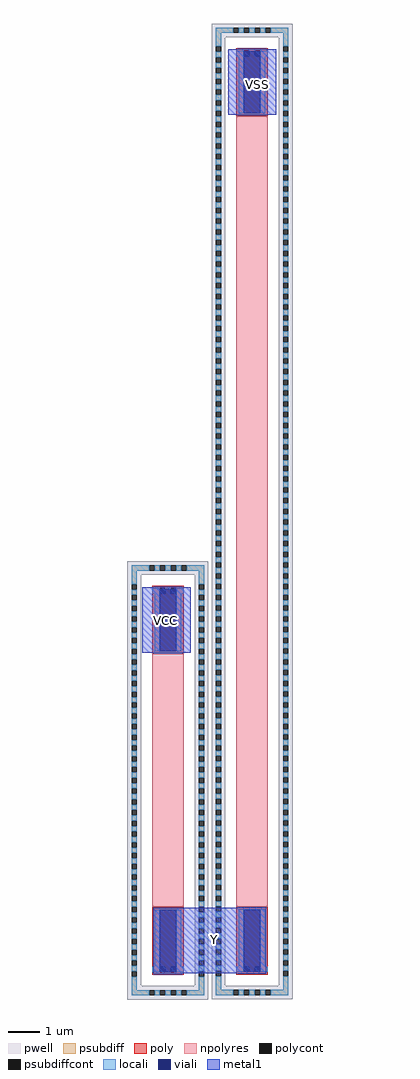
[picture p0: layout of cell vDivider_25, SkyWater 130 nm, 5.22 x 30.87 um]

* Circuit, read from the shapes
.subckt vDivider_25 VCC Y VSS
R1 VCC Y sky130_fd_pr__res_generic_po w=1 l=8
R2 VSS Y sky130_fd_pr__res_generic_po w=1 l=25
.ends

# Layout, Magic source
magic
tech sky130B
<< metal1 >>
rect 270 3050 423 3257
rect -1 1348 152 1555
rect 34 334 391 541
use sky130_fd_pr__res_generic_po_NSB5VY  R1
transform 1 0 346 0 1 1795
box -128 -1543 128 1543
use sky130_fd_pr__res_generic_po_FHUZEF  R3
transform 1 0 80 0 1 944
box -128 -693 128 693
<< labels >>
flabel metal1 s 21 1399 121 1499 0 FreeSans 160 0 0 0 VCC
port 1 nsew
flabel metal1 s 178 392 278 492 0 FreeSans 160 0 0 0 Y
port 2 nsew
flabel metal1 s 313 3094 413 3194 0 FreeSans 160 0 0 0 VSS
port 3 nsew
<< end >>

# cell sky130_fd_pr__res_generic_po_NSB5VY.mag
magic
tech sky130B
magscale 1 2
<< pwell >>
rect -256 3000 256 3086
rect -256 -3000 -170 3000
rect 170 -3000 256 3000
rect -256 -3086 256 -3000
<< psubdiff >>
rect -230 3026 -119 3060
rect -85 3026 -51 3060
rect -17 3026 17 3060
rect 51 3026 85 3060
rect 119 3026 230 3060
rect -230 2941 -196 3026
rect 196 2941 230 3026
rect -230 2873 -196 2907
rect -230 2805 -196 2839
rect -230 2737 -196 2771
rect -230 2669 -196 2703
rect -230 2601 -196 2635
rect -230 2533 -196 2567
rect -230 2465 -196 2499
rect -230 2397 -196 2431
rect -230 2329 -196 2363
rect -230 2261 -196 2295
rect -230 2193 -196 2227
rect -230 2125 -196 2159
rect -230 2057 -196 2091
rect -230 1989 -196 2023
rect -230 1921 -196 1955
rect -230 1853 -196 1887
rect -230 1785 -196 1819
rect -230 1717 -196 1751
rect -230 1649 -196 1683
rect -230 1581 -196 1615
rect -230 1513 -196 1547
rect -230 1445 -196 1479
rect -230 1377 -196 1411
rect -230 1309 -196 1343
rect -230 1241 -196 1275
rect -230 1173 -196 1207
rect -230 1105 -196 1139
rect -230 1037 -196 1071
rect -230 969 -196 1003
rect -230 901 -196 935
rect -230 833 -196 867
rect -230 765 -196 799
rect -230 697 -196 731
rect -230 629 -196 663
rect -230 561 -196 595
rect -230 493 -196 527
rect -230 425 -196 459
rect -230 357 -196 391
rect -230 289 -196 323
rect -230 221 -196 255
rect -230 153 -196 187
rect -230 85 -196 119
rect -230 17 -196 51
rect -230 -51 -196 -17
rect -230 -119 -196 -85
rect -230 -187 -196 -153
rect -230 -255 -196 -221
rect -230 -323 -196 -289
rect -230 -391 -196 -357
rect -230 -459 -196 -425
rect -230 -527 -196 -493
rect -230 -595 -196 -561
rect -230 -663 -196 -629
rect -230 -731 -196 -697
rect -230 -799 -196 -765
rect -230 -867 -196 -833
rect -230 -935 -196 -901
rect -230 -1003 -196 -969
rect -230 -1071 -196 -1037
rect -230 -1139 -196 -1105
rect -230 -1207 -196 -1173
rect -230 -1275 -196 -1241
rect -230 -1343 -196 -1309
rect -230 -1411 -196 -1377
rect -230 -1479 -196 -1445
rect -230 -1547 -196 -1513
rect -230 -1615 -196 -1581
rect -230 -1683 -196 -1649
rect -230 -1751 -196 -1717
rect -230 -1819 -196 -1785
rect -230 -1887 -196 -1853
rect -230 -1955 -196 -1921
rect -230 -2023 -196 -1989
rect -230 -2091 -196 -2057
rect -230 -2159 -196 -2125
rect -230 -2227 -196 -2193
rect -230 -2295 -196 -2261
rect -230 -2363 -196 -2329
rect -230 -2431 -196 -2397
rect -230 -2499 -196 -2465
rect -230 -2567 -196 -2533
rect -230 -2635 -196 -2601
rect -230 -2703 -196 -2669
rect -230 -2771 -196 -2737
rect -230 -2839 -196 -2805
rect -230 -2907 -196 -2873
rect 196 2873 230 2907
rect 196 2805 230 2839
rect 196 2737 230 2771
rect 196 2669 230 2703
rect 196 2601 230 2635
rect 196 2533 230 2567
rect 196 2465 230 2499
rect 196 2397 230 2431
rect 196 2329 230 2363
rect 196 2261 230 2295
rect 196 2193 230 2227
rect 196 2125 230 2159
rect 196 2057 230 2091
rect 196 1989 230 2023
rect 196 1921 230 1955
rect 196 1853 230 1887
rect 196 1785 230 1819
rect 196 1717 230 1751
rect 196 1649 230 1683
rect 196 1581 230 1615
rect 196 1513 230 1547
rect 196 1445 230 1479
rect 196 1377 230 1411
rect 196 1309 230 1343
rect 196 1241 230 1275
rect 196 1173 230 1207
rect 196 1105 230 1139
rect 196 1037 230 1071
rect 196 969 230 1003
rect 196 901 230 935
rect 196 833 230 867
rect 196 765 230 799
rect 196 697 230 731
rect 196 629 230 663
rect 196 561 230 595
rect 196 493 230 527
rect 196 425 230 459
rect 196 357 230 391
rect 196 289 230 323
rect 196 221 230 255
rect 196 153 230 187
rect 196 85 230 119
rect 196 17 230 51
rect 196 -51 230 -17
rect 196 -119 230 -85
rect 196 -187 230 -153
rect 196 -255 230 -221
rect 196 -323 230 -289
rect 196 -391 230 -357
rect 196 -459 230 -425
rect 196 -527 230 -493
rect 196 -595 230 -561
rect 196 -663 230 -629
rect 196 -731 230 -697
rect 196 -799 230 -765
rect 196 -867 230 -833
rect 196 -935 230 -901
rect 196 -1003 230 -969
rect 196 -1071 230 -1037
rect 196 -1139 230 -1105
rect 196 -1207 230 -1173
rect 196 -1275 230 -1241
rect 196 -1343 230 -1309
rect 196 -1411 230 -1377
rect 196 -1479 230 -1445
rect 196 -1547 230 -1513
rect 196 -1615 230 -1581
rect 196 -1683 230 -1649
rect 196 -1751 230 -1717
rect 196 -1819 230 -1785
rect 196 -1887 230 -1853
rect 196 -1955 230 -1921
rect 196 -2023 230 -1989
rect 196 -2091 230 -2057
rect 196 -2159 230 -2125
rect 196 -2227 230 -2193
rect 196 -2295 230 -2261
rect 196 -2363 230 -2329
rect 196 -2431 230 -2397
rect 196 -2499 230 -2465
rect 196 -2567 230 -2533
rect 196 -2635 230 -2601
rect 196 -2703 230 -2669
rect 196 -2771 230 -2737
rect 196 -2839 230 -2805
rect 196 -2907 230 -2873
rect -230 -3026 -196 -2941
rect 196 -3026 230 -2941
rect -230 -3060 -119 -3026
rect -85 -3060 -51 -3026
rect -17 -3060 17 -3026
rect 51 -3060 85 -3026
rect 119 -3060 230 -3026
<< psubdiffcont >>
rect -119 3026 -85 3060
rect -51 3026 -17 3060
rect 17 3026 51 3060
rect 85 3026 119 3060
rect -230 2907 -196 2941
rect -230 2839 -196 2873
rect -230 2771 -196 2805
rect -230 2703 -196 2737
rect -230 2635 -196 2669
rect -230 2567 -196 2601
rect -230 2499 -196 2533
rect -230 2431 -196 2465
rect -230 2363 -196 2397
rect -230 2295 -196 2329
rect -230 2227 -196 2261
rect -230 2159 -196 2193
rect -230 2091 -196 2125
rect -230 2023 -196 2057
rect -230 1955 -196 1989
rect -230 1887 -196 1921
rect -230 1819 -196 1853
rect -230 1751 -196 1785
rect -230 1683 -196 1717
rect -230 1615 -196 1649
rect -230 1547 -196 1581
rect -230 1479 -196 1513
rect -230 1411 -196 1445
rect -230 1343 -196 1377
rect -230 1275 -196 1309
rect -230 1207 -196 1241
rect -230 1139 -196 1173
rect -230 1071 -196 1105
rect -230 1003 -196 1037
rect -230 935 -196 969
rect -230 867 -196 901
rect -230 799 -196 833
rect -230 731 -196 765
rect -230 663 -196 697
rect -230 595 -196 629
rect -230 527 -196 561
rect -230 459 -196 493
rect -230 391 -196 425
rect -230 323 -196 357
rect -230 255 -196 289
rect -230 187 -196 221
rect -230 119 -196 153
rect -230 51 -196 85
rect -230 -17 -196 17
rect -230 -85 -196 -51
rect -230 -153 -196 -119
rect -230 -221 -196 -187
rect -230 -289 -196 -255
rect -230 -357 -196 -323
rect -230 -425 -196 -391
rect -230 -493 -196 -459
rect -230 -561 -196 -527
rect -230 -629 -196 -595
rect -230 -697 -196 -663
rect -230 -765 -196 -731
rect -230 -833 -196 -799
rect -230 -901 -196 -867
rect -230 -969 -196 -935
rect -230 -1037 -196 -1003
rect -230 -1105 -196 -1071
rect -230 -1173 -196 -1139
rect -230 -1241 -196 -1207
rect -230 -1309 -196 -1275
rect -230 -1377 -196 -1343
rect -230 -1445 -196 -1411
rect -230 -1513 -196 -1479
rect -230 -1581 -196 -1547
rect -230 -1649 -196 -1615
rect -230 -1717 -196 -1683
rect -230 -1785 -196 -1751
rect -230 -1853 -196 -1819
rect -230 -1921 -196 -1887
rect -230 -1989 -196 -1955
rect -230 -2057 -196 -2023
rect -230 -2125 -196 -2091
rect -230 -2193 -196 -2159
rect -230 -2261 -196 -2227
rect -230 -2329 -196 -2295
rect -230 -2397 -196 -2363
rect -230 -2465 -196 -2431
rect -230 -2533 -196 -2499
rect -230 -2601 -196 -2567
rect -230 -2669 -196 -2635
rect -230 -2737 -196 -2703
rect -230 -2805 -196 -2771
rect -230 -2873 -196 -2839
rect -230 -2941 -196 -2907
rect 196 2907 230 2941
rect 196 2839 230 2873
rect 196 2771 230 2805
rect 196 2703 230 2737
rect 196 2635 230 2669
rect 196 2567 230 2601
rect 196 2499 230 2533
rect 196 2431 230 2465
rect 196 2363 230 2397
rect 196 2295 230 2329
rect 196 2227 230 2261
rect 196 2159 230 2193
rect 196 2091 230 2125
rect 196 2023 230 2057
rect 196 1955 230 1989
rect 196 1887 230 1921
rect 196 1819 230 1853
rect 196 1751 230 1785
rect 196 1683 230 1717
rect 196 1615 230 1649
rect 196 1547 230 1581
rect 196 1479 230 1513
rect 196 1411 230 1445
rect 196 1343 230 1377
rect 196 1275 230 1309
rect 196 1207 230 1241
rect 196 1139 230 1173
rect 196 1071 230 1105
rect 196 1003 230 1037
rect 196 935 230 969
rect 196 867 230 901
rect 196 799 230 833
rect 196 731 230 765
rect 196 663 230 697
rect 196 595 230 629
rect 196 527 230 561
rect 196 459 230 493
rect 196 391 230 425
rect 196 323 230 357
rect 196 255 230 289
rect 196 187 230 221
rect 196 119 230 153
rect 196 51 230 85
rect 196 -17 230 17
rect 196 -85 230 -51
rect 196 -153 230 -119
rect 196 -221 230 -187
rect 196 -289 230 -255
rect 196 -357 230 -323
rect 196 -425 230 -391
rect 196 -493 230 -459
rect 196 -561 230 -527
rect 196 -629 230 -595
rect 196 -697 230 -663
rect 196 -765 230 -731
rect 196 -833 230 -799
rect 196 -901 230 -867
rect 196 -969 230 -935
rect 196 -1037 230 -1003
rect 196 -1105 230 -1071
rect 196 -1173 230 -1139
rect 196 -1241 230 -1207
rect 196 -1309 230 -1275
rect 196 -1377 230 -1343
rect 196 -1445 230 -1411
rect 196 -1513 230 -1479
rect 196 -1581 230 -1547
rect 196 -1649 230 -1615
rect 196 -1717 230 -1683
rect 196 -1785 230 -1751
rect 196 -1853 230 -1819
rect 196 -1921 230 -1887
rect 196 -1989 230 -1955
rect 196 -2057 230 -2023
rect 196 -2125 230 -2091
rect 196 -2193 230 -2159
rect 196 -2261 230 -2227
rect 196 -2329 230 -2295
rect 196 -2397 230 -2363
rect 196 -2465 230 -2431
rect 196 -2533 230 -2499
rect 196 -2601 230 -2567
rect 196 -2669 230 -2635
rect 196 -2737 230 -2703
rect 196 -2805 230 -2771
rect 196 -2873 230 -2839
rect 196 -2941 230 -2907
rect -119 -3060 -85 -3026
rect -51 -3060 -17 -3026
rect 17 -3060 51 -3026
rect 85 -3060 119 -3026
<< poly >>
rect -100 2914 100 2930
rect -100 2880 -51 2914
rect -17 2880 17 2914
rect 51 2880 100 2914
rect -100 2500 100 2880
rect -100 -2880 100 -2500
rect -100 -2914 -51 -2880
rect -17 -2914 17 -2880
rect 51 -2914 100 -2880
rect -100 -2930 100 -2914
<< polycont >>
rect -51 2880 -17 2914
rect 17 2880 51 2914
rect -51 -2914 -17 -2880
rect 17 -2914 51 -2880
<< npolyres >>
rect -100 -2500 100 2500
<< locali >>
rect -230 3026 -119 3060
rect -85 3026 -51 3060
rect -17 3026 17 3060
rect 51 3026 85 3060
rect 119 3026 230 3060
rect -230 2941 -196 3026
rect 196 2941 230 3026
rect -230 2873 -196 2907
rect -100 2912 -51 2914
rect -17 2912 17 2914
rect 51 2912 100 2914
rect -100 2880 -53 2912
rect 53 2880 100 2912
rect -230 2805 -196 2839
rect -230 2737 -196 2771
rect -230 2669 -196 2703
rect -230 2601 -196 2635
rect -230 2533 -196 2567
rect -84 2518 -53 2880
rect 53 2518 84 2880
rect -84 2517 84 2518
rect 196 2873 230 2907
rect 196 2805 230 2839
rect 196 2737 230 2771
rect 196 2669 230 2703
rect 196 2601 230 2635
rect 196 2533 230 2567
rect -230 2465 -196 2499
rect -230 2397 -196 2431
rect -230 2329 -196 2363
rect -230 2261 -196 2295
rect -230 2193 -196 2227
rect -230 2125 -196 2159
rect -230 2057 -196 2091
rect -230 1989 -196 2023
rect -230 1921 -196 1955
rect -230 1853 -196 1887
rect -230 1785 -196 1819
rect -230 1717 -196 1751
rect -230 1649 -196 1683
rect -230 1581 -196 1615
rect -230 1513 -196 1547
rect -230 1445 -196 1479
rect -230 1377 -196 1411
rect -230 1309 -196 1343
rect -230 1241 -196 1275
rect -230 1173 -196 1207
rect -230 1105 -196 1139
rect -230 1037 -196 1071
rect -230 969 -196 1003
rect -230 901 -196 935
rect -230 833 -196 867
rect -230 765 -196 799
rect -230 697 -196 731
rect -230 629 -196 663
rect -230 561 -196 595
rect -230 493 -196 527
rect -230 425 -196 459
rect -230 357 -196 391
rect -230 289 -196 323
rect -230 221 -196 255
rect -230 153 -196 187
rect -230 85 -196 119
rect -230 17 -196 51
rect -230 -51 -196 -17
rect -230 -119 -196 -85
rect -230 -187 -196 -153
rect -230 -255 -196 -221
rect -230 -323 -196 -289
rect -230 -391 -196 -357
rect -230 -459 -196 -425
rect -230 -527 -196 -493
rect -230 -595 -196 -561
rect -230 -663 -196 -629
rect -230 -731 -196 -697
rect -230 -799 -196 -765
rect -230 -867 -196 -833
rect -230 -935 -196 -901
rect -230 -1003 -196 -969
rect -230 -1071 -196 -1037
rect -230 -1139 -196 -1105
rect -230 -1207 -196 -1173
rect -230 -1275 -196 -1241
rect -230 -1343 -196 -1309
rect -230 -1411 -196 -1377
rect -230 -1479 -196 -1445
rect -230 -1547 -196 -1513
rect -230 -1615 -196 -1581
rect -230 -1683 -196 -1649
rect -230 -1751 -196 -1717
rect -230 -1819 -196 -1785
rect -230 -1887 -196 -1853
rect -230 -1955 -196 -1921
rect -230 -2023 -196 -1989
rect -230 -2091 -196 -2057
rect -230 -2159 -196 -2125
rect -230 -2227 -196 -2193
rect -230 -2295 -196 -2261
rect -230 -2363 -196 -2329
rect -230 -2431 -196 -2397
rect -230 -2499 -196 -2465
rect 196 2465 230 2499
rect 196 2397 230 2431
rect 196 2329 230 2363
rect 196 2261 230 2295
rect 196 2193 230 2227
rect 196 2125 230 2159
rect 196 2057 230 2091
rect 196 1989 230 2023
rect 196 1921 230 1955
rect 196 1853 230 1887
rect 196 1785 230 1819
rect 196 1717 230 1751
rect 196 1649 230 1683
rect 196 1581 230 1615
rect 196 1513 230 1547
rect 196 1445 230 1479
rect 196 1377 230 1411
rect 196 1309 230 1343
rect 196 1241 230 1275
rect 196 1173 230 1207
rect 196 1105 230 1139
rect 196 1037 230 1071
rect 196 969 230 1003
rect 196 901 230 935
rect 196 833 230 867
rect 196 765 230 799
rect 196 697 230 731
rect 196 629 230 663
rect 196 561 230 595
rect 196 493 230 527
rect 196 425 230 459
rect 196 357 230 391
rect 196 289 230 323
rect 196 221 230 255
rect 196 153 230 187
rect 196 85 230 119
rect 196 17 230 51
rect 196 -51 230 -17
rect 196 -119 230 -85
rect 196 -187 230 -153
rect 196 -255 230 -221
rect 196 -323 230 -289
rect 196 -391 230 -357
rect 196 -459 230 -425
rect 196 -527 230 -493
rect 196 -595 230 -561
rect 196 -663 230 -629
rect 196 -731 230 -697
rect 196 -799 230 -765
rect 196 -867 230 -833
rect 196 -935 230 -901
rect 196 -1003 230 -969
rect 196 -1071 230 -1037
rect 196 -1139 230 -1105
rect 196 -1207 230 -1173
rect 196 -1275 230 -1241
rect 196 -1343 230 -1309
rect 196 -1411 230 -1377
rect 196 -1479 230 -1445
rect 196 -1547 230 -1513
rect 196 -1615 230 -1581
rect 196 -1683 230 -1649
rect 196 -1751 230 -1717
rect 196 -1819 230 -1785
rect 196 -1887 230 -1853
rect 196 -1955 230 -1921
rect 196 -2023 230 -1989
rect 196 -2091 230 -2057
rect 196 -2159 230 -2125
rect 196 -2227 230 -2193
rect 196 -2295 230 -2261
rect 196 -2363 230 -2329
rect 196 -2431 230 -2397
rect 196 -2499 230 -2465
rect -230 -2567 -196 -2533
rect -230 -2635 -196 -2601
rect -230 -2703 -196 -2669
rect -230 -2771 -196 -2737
rect -230 -2839 -196 -2805
rect -230 -2907 -196 -2873
rect -84 -2519 84 -2517
rect -84 -2880 -53 -2519
rect 53 -2880 84 -2519
rect 196 -2567 230 -2533
rect 196 -2635 230 -2601
rect 196 -2703 230 -2669
rect 196 -2771 230 -2737
rect 196 -2839 230 -2805
rect -100 -2913 -53 -2880
rect 53 -2913 100 -2880
rect -100 -2914 -51 -2913
rect -17 -2914 17 -2913
rect 51 -2914 100 -2913
rect 196 -2907 230 -2873
rect -230 -3026 -196 -2941
rect 196 -3026 230 -2941
rect -230 -3060 -119 -3026
rect -85 -3060 -51 -3026
rect -17 -3060 17 -3026
rect 51 -3060 85 -3026
rect 119 -3060 230 -3026
<< viali >>
rect -53 2880 -51 2912
rect -51 2880 -17 2912
rect -17 2880 17 2912
rect 17 2880 51 2912
rect 51 2880 53 2912
rect -53 2518 53 2880
rect -53 -2880 53 -2519
rect -53 -2913 -51 -2880
rect -51 -2913 -17 -2880
rect -17 -2913 17 -2880
rect 17 -2913 51 -2880
rect 51 -2913 53 -2880
<< metal1 >>
rect -90 2912 90 2926
rect -90 2518 -53 2912
rect 53 2518 90 2912
rect -90 2505 90 2518
rect -90 -2519 90 -2505
rect -90 -2913 -53 -2519
rect 53 -2913 90 -2519
rect -90 -2926 90 -2913
<< properties >>
string FIXED_BBOX -213 -3043 213 3043
<< end >>

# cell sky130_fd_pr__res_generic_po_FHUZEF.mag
magic
tech sky130B
magscale 1 2
<< pwell >>
rect -256 1300 256 1386
rect -256 -1300 -170 1300
rect 170 -1300 256 1300
rect -256 -1386 256 -1300
<< psubdiff >>
rect -230 1326 -119 1360
rect -85 1326 -51 1360
rect -17 1326 17 1360
rect 51 1326 85 1360
rect 119 1326 230 1360
rect -230 1241 -196 1326
rect 196 1241 230 1326
rect -230 1173 -196 1207
rect -230 1105 -196 1139
rect -230 1037 -196 1071
rect -230 969 -196 1003
rect -230 901 -196 935
rect -230 833 -196 867
rect -230 765 -196 799
rect -230 697 -196 731
rect -230 629 -196 663
rect -230 561 -196 595
rect -230 493 -196 527
rect -230 425 -196 459
rect -230 357 -196 391
rect -230 289 -196 323
rect -230 221 -196 255
rect -230 153 -196 187
rect -230 85 -196 119
rect -230 17 -196 51
rect -230 -51 -196 -17
rect -230 -119 -196 -85
rect -230 -187 -196 -153
rect -230 -255 -196 -221
rect -230 -323 -196 -289
rect -230 -391 -196 -357
rect -230 -459 -196 -425
rect -230 -527 -196 -493
rect -230 -595 -196 -561
rect -230 -663 -196 -629
rect -230 -731 -196 -697
rect -230 -799 -196 -765
rect -230 -867 -196 -833
rect -230 -935 -196 -901
rect -230 -1003 -196 -969
rect -230 -1071 -196 -1037
rect -230 -1139 -196 -1105
rect -230 -1207 -196 -1173
rect 196 1173 230 1207
rect 196 1105 230 1139
rect 196 1037 230 1071
rect 196 969 230 1003
rect 196 901 230 935
rect 196 833 230 867
rect 196 765 230 799
rect 196 697 230 731
rect 196 629 230 663
rect 196 561 230 595
rect 196 493 230 527
rect 196 425 230 459
rect 196 357 230 391
rect 196 289 230 323
rect 196 221 230 255
rect 196 153 230 187
rect 196 85 230 119
rect 196 17 230 51
rect 196 -51 230 -17
rect 196 -119 230 -85
rect 196 -187 230 -153
rect 196 -255 230 -221
rect 196 -323 230 -289
rect 196 -391 230 -357
rect 196 -459 230 -425
rect 196 -527 230 -493
rect 196 -595 230 -561
rect 196 -663 230 -629
rect 196 -731 230 -697
rect 196 -799 230 -765
rect 196 -867 230 -833
rect 196 -935 230 -901
rect 196 -1003 230 -969
rect 196 -1071 230 -1037
rect 196 -1139 230 -1105
rect 196 -1207 230 -1173
rect -230 -1326 -196 -1241
rect 196 -1326 230 -1241
rect -230 -1360 -119 -1326
rect -85 -1360 -51 -1326
rect -17 -1360 17 -1326
rect 51 -1360 85 -1326
rect 119 -1360 230 -1326
<< psubdiffcont >>
rect -119 1326 -85 1360
rect -51 1326 -17 1360
rect 17 1326 51 1360
rect 85 1326 119 1360
rect -230 1207 -196 1241
rect -230 1139 -196 1173
rect -230 1071 -196 1105
rect -230 1003 -196 1037
rect -230 935 -196 969
rect -230 867 -196 901
rect -230 799 -196 833
rect -230 731 -196 765
rect -230 663 -196 697
rect -230 595 -196 629
rect -230 527 -196 561
rect -230 459 -196 493
rect -230 391 -196 425
rect -230 323 -196 357
rect -230 255 -196 289
rect -230 187 -196 221
rect -230 119 -196 153
rect -230 51 -196 85
rect -230 -17 -196 17
rect -230 -85 -196 -51
rect -230 -153 -196 -119
rect -230 -221 -196 -187
rect -230 -289 -196 -255
rect -230 -357 -196 -323
rect -230 -425 -196 -391
rect -230 -493 -196 -459
rect -230 -561 -196 -527
rect -230 -629 -196 -595
rect -230 -697 -196 -663
rect -230 -765 -196 -731
rect -230 -833 -196 -799
rect -230 -901 -196 -867
rect -230 -969 -196 -935
rect -230 -1037 -196 -1003
rect -230 -1105 -196 -1071
rect -230 -1173 -196 -1139
rect -230 -1241 -196 -1207
rect 196 1207 230 1241
rect 196 1139 230 1173
rect 196 1071 230 1105
rect 196 1003 230 1037
rect 196 935 230 969
rect 196 867 230 901
rect 196 799 230 833
rect 196 731 230 765
rect 196 663 230 697
rect 196 595 230 629
rect 196 527 230 561
rect 196 459 230 493
rect 196 391 230 425
rect 196 323 230 357
rect 196 255 230 289
rect 196 187 230 221
rect 196 119 230 153
rect 196 51 230 85
rect 196 -17 230 17
rect 196 -85 230 -51
rect 196 -153 230 -119
rect 196 -221 230 -187
rect 196 -289 230 -255
rect 196 -357 230 -323
rect 196 -425 230 -391
rect 196 -493 230 -459
rect 196 -561 230 -527
rect 196 -629 230 -595
rect 196 -697 230 -663
rect 196 -765 230 -731
rect 196 -833 230 -799
rect 196 -901 230 -867
rect 196 -969 230 -935
rect 196 -1037 230 -1003
rect 196 -1105 230 -1071
rect 196 -1173 230 -1139
rect 196 -1241 230 -1207
rect -119 -1360 -85 -1326
rect -51 -1360 -17 -1326
rect 17 -1360 51 -1326
rect 85 -1360 119 -1326
<< poly >>
rect -100 1214 100 1230
rect -100 1180 -51 1214
rect -17 1180 17 1214
rect 51 1180 100 1214
rect -100 800 100 1180
rect -100 -1180 100 -800
rect -100 -1214 -51 -1180
rect -17 -1214 17 -1180
rect 51 -1214 100 -1180
rect -100 -1230 100 -1214
<< polycont >>
rect -51 1180 -17 1214
rect 17 1180 51 1214
rect -51 -1214 -17 -1180
rect 17 -1214 51 -1180
<< npolyres >>
rect -100 -800 100 800
<< locali >>
rect -230 1326 -119 1360
rect -85 1326 -51 1360
rect -17 1326 17 1360
rect 51 1326 85 1360
rect 119 1326 230 1360
rect -230 1241 -196 1326
rect 196 1241 230 1326
rect -230 1173 -196 1207
rect -100 1212 -51 1214
rect -17 1212 17 1214
rect 51 1212 100 1214
rect -100 1180 -53 1212
rect 53 1180 100 1212
rect -230 1105 -196 1139
rect -230 1037 -196 1071
rect -230 969 -196 1003
rect -230 901 -196 935
rect -230 833 -196 867
rect -84 818 -53 1180
rect 53 818 84 1180
rect -84 817 84 818
rect 196 1173 230 1207
rect 196 1105 230 1139
rect 196 1037 230 1071
rect 196 969 230 1003
rect 196 901 230 935
rect 196 833 230 867
rect -230 765 -196 799
rect -230 697 -196 731
rect -230 629 -196 663
rect -230 561 -196 595
rect -230 493 -196 527
rect -230 425 -196 459
rect -230 357 -196 391
rect -230 289 -196 323
rect -230 221 -196 255
rect -230 153 -196 187
rect -230 85 -196 119
rect -230 17 -196 51
rect -230 -51 -196 -17
rect -230 -119 -196 -85
rect -230 -187 -196 -153
rect -230 -255 -196 -221
rect -230 -323 -196 -289
rect -230 -391 -196 -357
rect -230 -459 -196 -425
rect -230 -527 -196 -493
rect -230 -595 -196 -561
rect -230 -663 -196 -629
rect -230 -731 -196 -697
rect -230 -799 -196 -765
rect 196 765 230 799
rect 196 697 230 731
rect 196 629 230 663
rect 196 561 230 595
rect 196 493 230 527
rect 196 425 230 459
rect 196 357 230 391
rect 196 289 230 323
rect 196 221 230 255
rect 196 153 230 187
rect 196 85 230 119
rect 196 17 230 51
rect 196 -51 230 -17
rect 196 -119 230 -85
rect 196 -187 230 -153
rect 196 -255 230 -221
rect 196 -323 230 -289
rect 196 -391 230 -357
rect 196 -459 230 -425
rect 196 -527 230 -493
rect 196 -595 230 -561
rect 196 -663 230 -629
rect 196 -731 230 -697
rect 196 -799 230 -765
rect -230 -867 -196 -833
rect -230 -935 -196 -901
rect -230 -1003 -196 -969
rect -230 -1071 -196 -1037
rect -230 -1139 -196 -1105
rect -230 -1207 -196 -1173
rect -84 -819 84 -817
rect -84 -1180 -53 -819
rect 53 -1180 84 -819
rect 196 -867 230 -833
rect 196 -935 230 -901
rect 196 -1003 230 -969
rect 196 -1071 230 -1037
rect 196 -1139 230 -1105
rect -100 -1213 -53 -1180
rect 53 -1213 100 -1180
rect -100 -1214 -51 -1213
rect -17 -1214 17 -1213
rect 51 -1214 100 -1213
rect 196 -1207 230 -1173
rect -230 -1326 -196 -1241
rect 196 -1326 230 -1241
rect -230 -1360 -119 -1326
rect -85 -1360 -51 -1326
rect -17 -1360 17 -1326
rect 51 -1360 85 -1326
rect 119 -1360 230 -1326
<< viali >>
rect -53 1180 -51 1212
rect -51 1180 -17 1212
rect -17 1180 17 1212
rect 17 1180 51 1212
rect 51 1180 53 1212
rect -53 818 53 1180
rect -53 -1180 53 -819
rect -53 -1213 -51 -1180
rect -51 -1213 -17 -1180
rect -17 -1213 17 -1180
rect 17 -1213 51 -1180
rect 51 -1213 53 -1180
<< metal1 >>
rect -90 1212 90 1226
rect -90 818 -53 1212
rect 53 818 90 1212
rect -90 805 90 818
rect -90 -819 90 -805
rect -90 -1213 -53 -819
rect 53 -1213 90 -819
rect -90 -1226 90 -1213
<< properties >>
string FIXED_BBOX -213 -1343 213 1343
<< end >>
